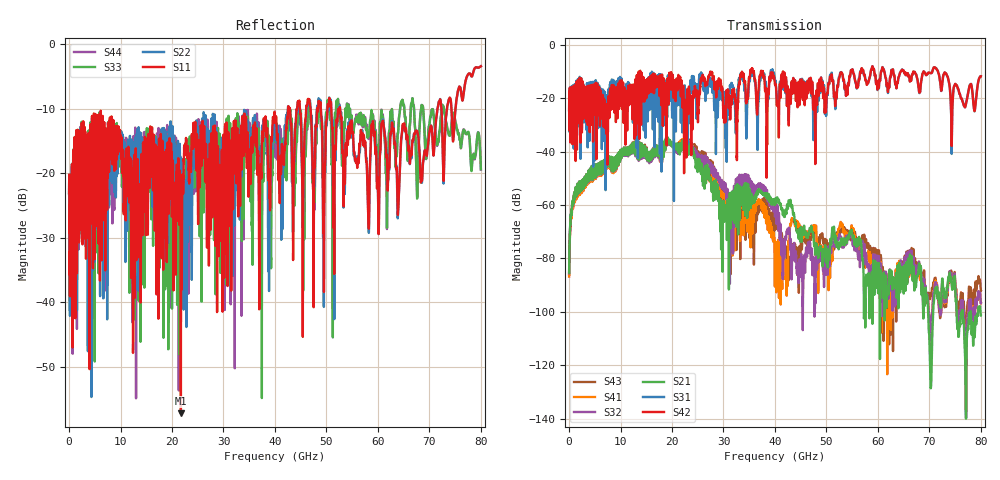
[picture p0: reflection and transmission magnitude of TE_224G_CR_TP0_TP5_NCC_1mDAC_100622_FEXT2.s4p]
!! Reference: tracy_3df_01_2211
!! CHANNEL DESCRIPTION: TP0_TP5 CR Channel using 1meter DAC, Near Chip Connector Host
!! MODEL DESCRIPTION: s4p, FEXT2
!! CONNECTOR DESCRIPTION: OSFP 200G OTB
!! CABLE DESCRIPTION: 1meter 26AWG Cable
!! MODEL STATUS: Developmental
!! PORT DEFINITIONS:
!! Port  1  ----->  Side A  Side B  <-----  Port  2
!! Port  3  ----->  Side A  Side B  <-----  Port  4
# Hz S MA R 50
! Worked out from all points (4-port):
!   8000 points, 10 MHz to 80 GHz, reference 50 ohm
!   strongest paths, dB at 10 MHz, 20.01 GHz, 40.01 GHz, 60.01 GHz, 80 GHz:
!     S42: -24.5, -15.5, -14.9, -14.2, -11.8
!     S31: -24.5, -26.2, -13.4, -14.6, -11.7
!     S21: -85.3, -37.3, -59.5, -91.0, -101.4
!     S32: -85.6, -37.4, -64.1, -84.9, -96.8
!     S41: -86.8, -36.9, -77.7, -87.1, -96.8
!     S43: -86.1, -36.6, -68.1, -81.4, -92.2
!   lowest |S11| = -57.2 dB at 21.72 GHz (marker M1), VSWR 1.00, Z = 49.9 + j0.124 ohm
!   |S11| at or under -10 dB: start of sweep to 42.53 GHz; 50.93 GHz to 52.53 GHz (1.595 GHz wide, 3.08 % of centre); 52.64 GHz to 71.57 GHz (18.93 GHz wide, 30.5 % of centre)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
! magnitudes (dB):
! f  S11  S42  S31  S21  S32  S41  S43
! 10 MHz  -23.1  -24.5  -24.5  -85.3  -85.6  -86.8  -86.1
! 4.4 GHz  -15.3  -24.7  -27.3  -45.9  -45.8  -46.4  -45.8
! 21.72 GHz  -57.2  -18.7  -28.3  -37.5  -37.2  -36.2  -35.9
! 29.85 GHz  -26.1  -19.1  -19.0  -65.6  -53.5  -59.8  -55.5
! 37.8 GHz  -12.2  -12.5  -11.4  -56.0  -52.7  -59.5  -57.5
! 41.45 GHz  -18.3  -12.4  -14.6  -62.1  -74.6  -83.3  -75.1
! 80 GHz  -3.4  -11.8  -11.7  -101.4  -96.8  -96.8  -92.2
